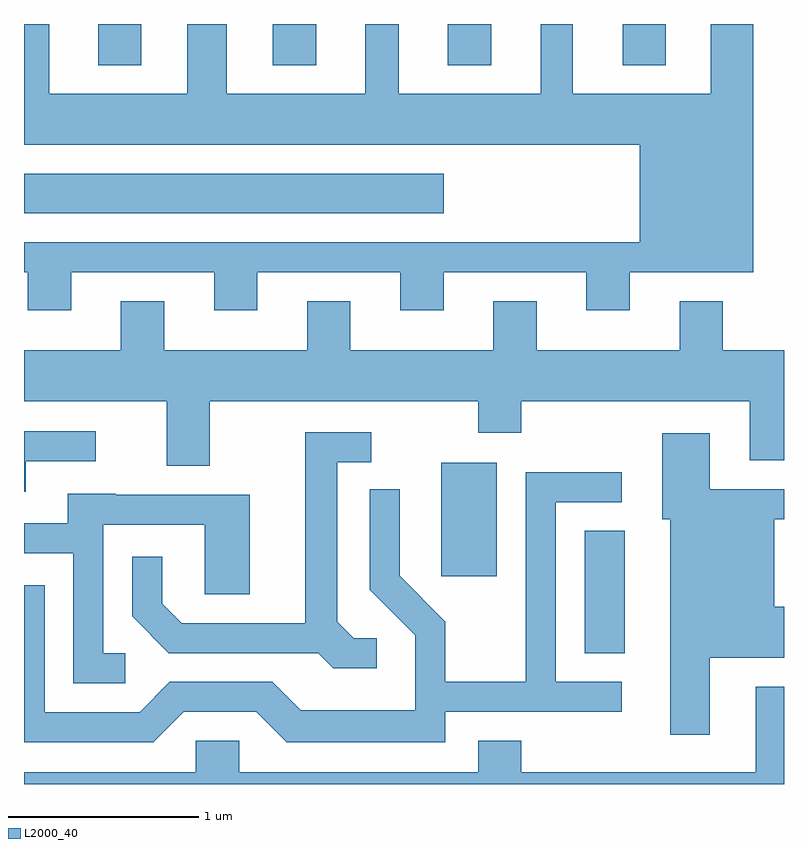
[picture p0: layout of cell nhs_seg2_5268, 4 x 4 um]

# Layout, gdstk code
import gdstk
lib = gdstk.Library(unit=1e-6, precision=1e-09)
def R(c, l, rs):  # rectangles x0, y0, x1, y1
    for r in rs: c.add(gdstk.rectangle(r[:2], r[2:], *l))
def A(c, l, x, y, w, h, nx, ny, dx, dy):  # array of equal rectangles
    R(c, l, [(x+i*dx, y+j*dy, x+i*dx+w, y+j*dy+h) for i in range(nx) for j in range(ny)])
def P(c, l, *ps):  # polygons
    for p in ps: c.add(gdstk.Polygon(p, *l))
L2000_40 = (2000, 40)

nhs_seg2_5268 = lib.new_cell('nhs_seg2_5268')
A(nhs_seg2_5268, L2000_40, 340.001, 1105.586, 0.228, 0.216, 4, 1, 0.92, 0)
R(nhs_seg2_5268, L2000_40, [(342.561,1102.491,342.774,1103.134), (341.806,1102.896,342.099,1103.494), (339.611,1104.806,341.819,1105.014)])
P(nhs_seg2_5268, L2000_40, [(339.859,1104.496),(340.611,1104.496),(340.611,1104.296),(340.839,1104.296),(340.839,1104.496),(341.591,1104.496),(341.591,1104.296),(341.819,1104.296),(341.819,1104.496),(342.571,1104.496),(342.571,1104.296),(342.799,1104.296),(342.799,1104.496),(343.449,1104.496),(343.449,1105.802),(343.226,1105.802),(343.226,1105.434),(342.499,1105.434),(342.499,1105.802),(342.331,1105.802),(342.331,1105.434),(341.584,1105.434),(341.584,1105.802),(341.406,1105.802),(341.406,1105.434),(340.679,1105.434),(340.679,1105.802),(340.471,1105.802),(340.471,1105.434),(339.744,1105.434),(339.744,1105.802),(339.611,1105.802),(339.611,1105.166),(342.851,1105.166),(342.851,1104.654),(339.611,1104.654),(339.611,1104.496),(339.631,1104.496),(339.631,1104.296),(339.859,1104.296)],
  [(340.589,1103.816),(342.001,1103.816),(342.001,1103.651),(342.229,1103.651),(342.229,1103.816),(343.431,1103.816),(343.431,1103.506),(343.611,1103.506),(343.611,1104.084),(343.289,1104.084),(343.289,1104.344),(343.061,1104.344),(343.061,1104.084),(342.309,1104.084),(342.309,1104.344),(342.081,1104.344),(342.081,1104.084),(341.329,1104.084),(341.329,1104.344),(341.101,1104.344),(341.101,1104.084),(340.349,1104.084),(340.349,1104.344),(340.121,1104.344),(340.121,1104.084),(339.611,1104.084),(339.611,1103.816),(340.361,1103.816),(340.361,1103.476),(340.589,1103.476)],
  [(339.619,1103.501),(339.988,1103.501),(339.988,1103.659),(339.611,1103.659),(339.611,1103.341),(339.619,1103.341)],
  [(341.468,1102.569),(341.347,1102.569),(341.259,1102.657),(341.259,1103.496),(341.438,1103.496),(341.438,1103.654),(341.091,1103.654),(341.091,1102.649),(340.442,1102.649),(340.339,1102.752),(340.339,1102.998),(340.181,1102.998),(340.181,1102.684),(340.374,1102.491),(341.159,1102.491),(341.239,1102.411),(341.468,1102.411)],
  [(343.219,1102.466),(343.611,1102.466),(343.611,1102.734),(343.559,1102.734),(343.559,1103.196),(343.611,1103.196),(343.611,1103.354),(343.219,1103.354),(343.219,1103.649),(342.971,1103.649),(342.971,1103.196),(343.011,1103.196),(343.011,1102.061),(343.219,1102.061)],
  [(340.452,1102.181),(340.834,1102.181),(340.994,1102.021),(341.829,1102.021),(341.829,1102.181),(342.758,1102.181),(342.758,1102.339),(342.409,1102.339),(342.409,1103.286),(342.758,1103.286),(342.758,1103.444),(342.251,1103.444),(342.251,1102.339),(341.829,1102.339),(341.829,1102.657),(341.589,1102.897),(341.589,1103.353),(341.431,1103.353),(341.431,1102.824),(341.671,1102.584),(341.671,1102.189),(341.067,1102.189),(340.917,1102.339),(340.379,1102.339),(340.219,1102.179),(339.719,1102.179),(339.719,1102.849),(339.611,1102.849),(339.611,1102.021),(340.292,1102.021)],
  [(340.143,1102.489),(340.029,1102.489),(340.029,1103.166),(340.561,1103.166),(340.561,1102.801),(340.799,1102.801),(340.799,1103.324),(340.095,1103.324),(340.095,1103.329),(339.841,1103.329),(339.841,1103.174),(339.611,1103.174),(339.611,1103.016),(339.871,1103.016),(339.871,1102.331),(340.143,1102.331)],
  [(343.611,1102.314),(343.461,1102.314),(343.461,1101.864),(342.229,1101.864),(342.229,1102.029),(342.001,1102.029),(342.001,1101.864),(340.744,1101.864),(340.744,1102.029),(340.516,1102.029),(340.516,1101.864),(339.611,1101.864),(339.611,1101.802),(343.611,1101.802)])

lib.write_gds('nhs_seg2_5268.gds')
